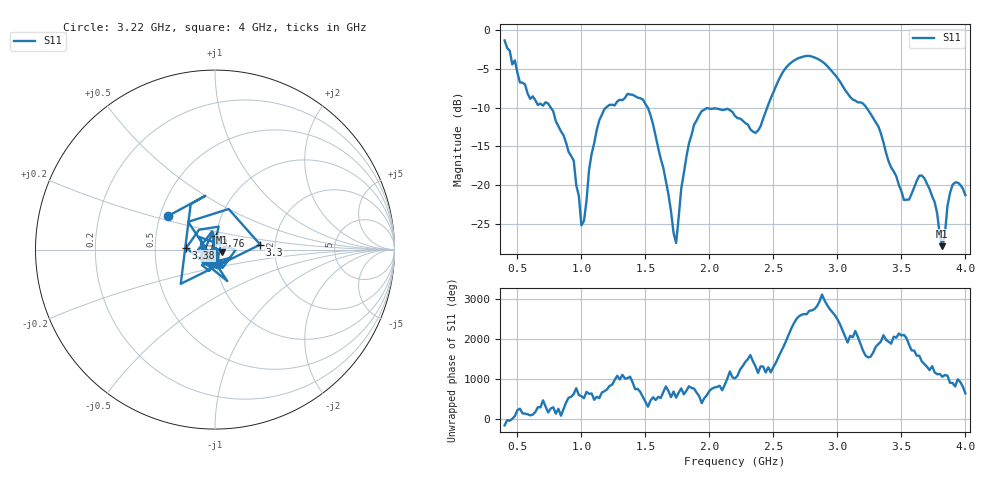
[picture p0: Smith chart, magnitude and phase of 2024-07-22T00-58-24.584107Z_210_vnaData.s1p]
!Created with skrf (http://scikit-rf.org).
# Hz S RI R 50.0
!freq ReS11 ImS11
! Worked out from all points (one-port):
!   181 points, 400 MHz to 4 GHz, reference 50 ohm
!   lowest |S11| = -27.9 dB at 3.82 GHz (marker M1), VSWR 1.08, Z = 53.9 - j1.55 ohm
!   |S11| at or under -10 dB: 760.1 MHz to 1.193 GHz (433.1 MHz wide, 44.3 % of centre); 1.518 GHz to 2.452 GHz (933.6 MHz wide, 47 % of centre); 3.226 GHz to end of sweep
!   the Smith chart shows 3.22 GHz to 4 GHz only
!   S11 on the Smith chart (normalised r, x): 3.22 GHz: 0.55, +0.23; 3.3 GHz: 1.67, +0.10; 3.38 GHz: 0.72, +0.01; 3.76 GHz: 1.00, +0.15; 4 GHz: 1.04, -0.17
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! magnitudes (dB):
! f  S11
! 400 MHz  -1.3
! 520 MHz  -6.8
! 740 MHz  -9.5
! 860 MHz  -13.6
! 940 MHz  -16.9
! 1 GHz  -25.2
! 1.14 GHz  -11.6
! 1.3 GHz  -9.0
! 1.52 GHz  -10.0
! 1.64 GHz  -17.8
! 1.74 GHz  -27.5
! 1.76 GHz  -24.2
! 1.84 GHz  -14.7
! 1.92 GHz  -11.0
! 2.2 GHz  -11.1
! 2.38 GHz  -13.0
! 2.66 GHz  -3.9
! 2.88 GHz  -4.0
! 3.1 GHz  -8.6
! 3.22 GHz  -9.8
! 3.3 GHz  -11.9
! 3.38 GHz  -15.9
! 3.56 GHz  -21.9
! 3.66 GHz  -18.8
! 3.76 GHz  -22.2
! 3.82 GHz  -27.9
! 3.9 GHz  -20.0
! 4 GHz  -21.3
